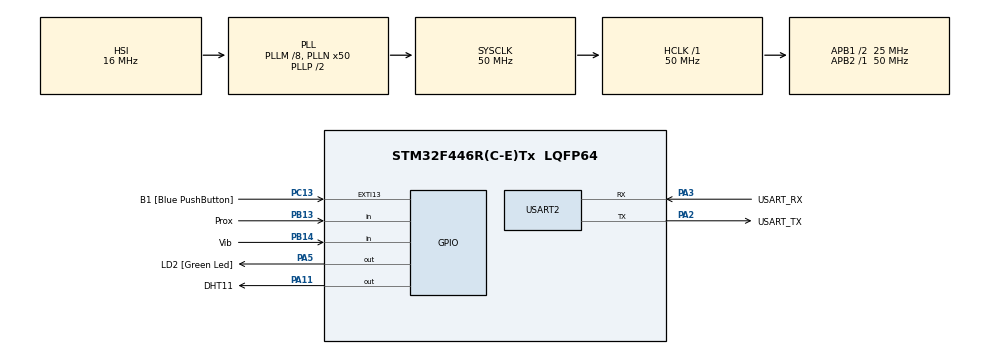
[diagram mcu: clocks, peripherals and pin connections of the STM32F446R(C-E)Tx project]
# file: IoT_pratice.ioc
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Mcu.Family=STM32F4
Mcu.Name=STM32F446R(C-E)Tx
Mcu.Package=LQFP64
NVIC.PriorityGroup=NVIC_PRIORITYGROUP_0
PA11.GPIO_Label=DHT11
PA11.Signal=GPIO_Output
PA13.GPIO_Label=TMS
PA13.Mode=Serial_Wire
PA13.Signal=SYS_JTMS-SWDIO
PA14.GPIO_Label=TCK
PA14.Mode=Serial_Wire
PA14.Signal=SYS_JTCK-SWCLK
PA2.GPIO_Label=USART_TX
PA2.Mode=Asynchronous
PA2.Signal=USART2_TX
PA3.GPIO_Label=USART_RX
PA3.Mode=Asynchronous
PA3.Signal=USART2_RX
PA5.GPIO_Label=LD2 [Green Led]
PA5.Signal=GPIO_Output
PB13.GPIO_Label=Prox
PB13.Signal=GPIO_Input
PB14.GPIO_Label=Vib
PB14.GPIO_PuPd=GPIO_PULLUP
PB14.Signal=GPIO_Input
PB3.GPIO_Label=SWO
PB3.Signal=SYS_JTDO-SWO
PC13.GPIO_Label=B1 [Blue PushButton]
PC13.GPIO_ModeDefaultEXTI=GPIO_MODE_IT_FALLING
PC13.Signal=GPXTI13
PC14-OSC32_IN.Mode=LSE-External-Oscillator
PC14-OSC32_IN.Signal=RCC_OSC32_IN
PC15-OSC32_OUT.Mode=LSE-External-Oscillator
PC15-OSC32_OUT.Signal=RCC_OSC32_OUT
PH0-OSC_IN.Mode=HSE-External-Oscillator
PH0-OSC_IN.Signal=RCC_OSC_IN
PH1-OSC_OUT.Mode=HSE-External-Oscillator
PH1-OSC_OUT.Signal=RCC_OSC_OUT
ProjectManager.HeapSize=0x200
ProjectManager.StackSize=0x400
ProjectManager.TargetToolchain=STM32CubeIDE
RCC.48MHZClocksFreq_Value=84000000
RCC.AHBFreq_Value=50000000
RCC.APB1CLKDivider=RCC_HCLK_DIV2
RCC.APB1Freq_Value=25000000
RCC.APB1TimFreq_Value=50000000
RCC.APB2Freq_Value=50000000
RCC.APB2TimFreq_Value=50000000
RCC.CortexFreq_Value=50000000
RCC.FLatency-AdvancedSettings=FLASH_LATENCY_1
RCC.HCLKFreq_Value=50000000
RCC.HSE_VALUE=8000000
RCC.HSI_VALUE=16000000
RCC.PLLM=8
RCC.PLLN=50
RCC.SYSCLKFreq_VALUE=50000000
RCC.SYSCLKSource=RCC_SYSCLKSOURCE_PLLCLK
RCC.USBFreq_Value=50000000
RCC.VCOOutputFreq_Value=100000000
USART2.VirtualMode=VM_ASYNC
VP_TIM6_VS_ClockSourceINT.Mode=Enable_Timer
board=NUCLEO-F446RE

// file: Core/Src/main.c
/* USER CODE BEGIN Header */
/**
  ******************************************************************************
  * @file           : main.c
  * @brief          : Main program body
  ******************************************************************************
  * @attention
  *
  * Copyright (c) 2024 STMicroelectronics.
  * All rights reserved.
  *
  * This software is licensed under terms that can be found in the LICENSE file
  * in the root directory of this software component.
  * If no LICENSE file comes with this software, it is provided AS-IS.
  *
  ******************************************************************************
  */
/* USER CODE END Header */
#include "main.h"

/* USER CODE BEGIN Includes */
#include <stdio.h>
#include "dht11_driver.h"
/* USER CODE END Includes */

/* USER CODE BEGIN PD */
#define VERSION 3
/* USER CODE END PD */

TIM_HandleTypeDef htim6;

UART_HandleTypeDef huart2;

void SystemClock_Config(void);
static void MX_GPIO_Init(void);
static void MX_USART2_UART_Init(void);
static void MX_TIM6_Init(void);

/* USER CODE BEGIN 0 */
int __io_putchar(int ch){
	HAL_UART_Transmit(&huart2, (uint8_t *)&ch,1,HAL_MAX_DELAY);
	return ch;
}
/* USER CODE END 0 */

int main(void)
{

  /* MCU Configuration--------------------------------------------------------*/

  /* Reset of all peripherals, Initializes the Flash interface and the Systick. */
  HAL_Init();

  /* USER CODE BEGIN Init */
  uint8_t Rh_Byte1;
  uint8_t Rh_Byte2;
  uint8_t Temp_Byte1;
  uint8_t Temp_Byte2;
  uint8_t SUM;
  /* USER CODE END Init */

  /* Configure the system clock */
  SystemClock_Config();

  /* Initialize all configured peripherals */
  MX_GPIO_Init();
  MX_USART2_UART_Init();
  MX_TIM6_Init();
  /* USER CODE BEGIN 2 */
  HAL_TIM_Base_Start(&htim6);
  /* USER CODE END 2 */

  /* Infinite loop */
  while (1)
  {

    /* USER CODE BEGIN 3 */
#if VERSION==1
	  printf("Prox : %d\n",HAL_GPIO_ReadPin(Prox_GPIO_Port,Prox_Pin));
	  HAL_Delay(1000);
#elif VERSION==2
	  printf("Vib : %d\n",HAL_GPIO_ReadPin(Vib_GPIO_Port,Vib_Pin));
	  HAL_Delay(1000);
#elif VERSION==3
	  dht11_start();
	  if (dht11_response == 1){
		  Rh_byte1 = DHT11_Read();
		  Rh_byte2 = DHT11_Read();
		  Temp_byte1 = DHT11_Read();
		  Temp_byte2 = DHT11_Read();
		  SUM = DHT11_Read();
	  }
	  else{
		  printf("Presence error\n");
	  }
	  printf("Temp : %d.%d\n",Temp_Byte1,Temp_Byte2);
	  printf("Hum : %d.%d\n",Rh_Byte1,Rh_Byte2);
	  HAL_Delay(3000);

#endif

  }
  /* USER CODE END 3 */
}

void SystemClock_Config(void)
{
  RCC_OscInitTypeDef RCC_OscInitStruct = {0};
  RCC_ClkInitTypeDef RCC_ClkInitStruct = {0};

  /** Configure the main internal regulator output voltage
  */
  __HAL_RCC_PWR_CLK_ENABLE();
  __HAL_PWR_VOLTAGESCALING_CONFIG(PWR_REGULATOR_VOLTAGE_SCALE3);

  /** Initializes the RCC Oscillators according to the specified parameters
  * in the RCC_OscInitTypeDef structure.
  */
  RCC_OscInitStruct.OscillatorType = RCC_OSCILLATORTYPE_HSI;
  RCC_OscInitStruct.HSIState = RCC_HSI_ON;
  RCC_OscInitStruct.HSICalibrationValue = RCC_HSICALIBRATION_DEFAULT;
  RCC_OscInitStruct.PLL.PLLState = RCC_PLL_ON;
  RCC_OscInitStruct.PLL.PLLSource = RCC_PLLSOURCE_HSI;
  RCC_OscInitStruct.PLL.PLLM = 8;
  RCC_OscInitStruct.PLL.PLLN = 50;
  RCC_OscInitStruct.PLL.PLLP = RCC_PLLP_DIV2;
  RCC_OscInitStruct.PLL.PLLQ = 2;
  RCC_OscInitStruct.PLL.PLLR = 2;
  if (HAL_RCC_OscConfig(&RCC_OscInitStruct) != HAL_OK)
  {
    Error_Handler();
  }

  /** Initializes the CPU, AHB and APB buses clocks
  */
  RCC_ClkInitStruct.ClockType = RCC_CLOCKTYPE_HCLK|RCC_CLOCKTYPE_SYSCLK
                              |RCC_CLOCKTYPE_PCLK1|RCC_CLOCKTYPE_PCLK2;
  RCC_ClkInitStruct.SYSCLKSource = RCC_SYSCLKSOURCE_PLLCLK;
  RCC_ClkInitStruct.AHBCLKDivider = RCC_SYSCLK_DIV1;
  RCC_ClkInitStruct.APB1CLKDivider = RCC_HCLK_DIV2;
  RCC_ClkInitStruct.APB2CLKDivider = RCC_HCLK_DIV1;

  if (HAL_RCC_ClockConfig(&RCC_ClkInitStruct, FLASH_LATENCY_1) != HAL_OK)
  {
    Error_Handler();
  }
}

static void MX_TIM6_Init(void)
{

  TIM_MasterConfigTypeDef sMasterConfig = {0};

  htim6.Instance = TIM6;
  htim6.Init.Prescaler = 0;
  htim6.Init.CounterMode = TIM_COUNTERMODE_UP;
  htim6.Init.Period = 65535;
  htim6.Init.AutoReloadPreload = TIM_AUTORELOAD_PRELOAD_DISABLE;
  if (HAL_TIM_Base_Init(&htim6) != HAL_OK)
  {
    Error_Handler();
  }
  sMasterConfig.MasterOutputTrigger = TIM_TRGO_RESET;
  sMasterConfig.MasterSlaveMode = TIM_MASTERSLAVEMODE_DISABLE;
  if (HAL_TIMEx_MasterConfigSynchronization(&htim6, &sMasterConfig) != HAL_OK)
  {
    Error_Handler();
  }

}

static void MX_USART2_UART_Init(void)
{

  huart2.Instance = USART2;
  huart2.Init.BaudRate = 115200;
  huart2.Init.WordLength = UART_WORDLENGTH_8B;
  huart2.Init.StopBits = UART_STOPBITS_1;
  huart2.Init.Parity = UART_PARITY_NONE;
  huart2.Init.Mode = UART_MODE_TX_RX;
  huart2.Init.HwFlowCtl = UART_HWCONTROL_NONE;
  huart2.Init.OverSampling = UART_OVERSAMPLING_16;
  if (HAL_UART_Init(&huart2) != HAL_OK)
  {
    Error_Handler();
  }

}

static void MX_GPIO_Init(void)
{
  GPIO_InitTypeDef GPIO_InitStruct = {0};

  /* GPIO Ports Clock Enable */
  __HAL_RCC_GPIOC_CLK_ENABLE();
  __HAL_RCC_GPIOH_CLK_ENABLE();
  __HAL_RCC_GPIOA_CLK_ENABLE();
  __HAL_RCC_GPIOB_CLK_ENABLE();

  /*Configure GPIO pin Output Level */
  HAL_GPIO_WritePin(GPIOA, LD2_Pin|DHT11_Pin, GPIO_PIN_RESET);

  /*Configure GPIO pin : B1_Pin */
  GPIO_InitStruct.Pin = B1_Pin;
  GPIO_InitStruct.Mode = GPIO_MODE_IT_FALLING;
  GPIO_InitStruct.Pull = GPIO_NOPULL;
  HAL_GPIO_Init(B1_GPIO_Port, &GPIO_InitStruct);

  /*Configure GPIO pins : LD2_Pin DHT11_Pin */
  GPIO_InitStruct.Pin = LD2_Pin|DHT11_Pin;
  GPIO_InitStruct.Mode = GPIO_MODE_OUTPUT_PP;
  GPIO_InitStruct.Pull = GPIO_NOPULL;
  GPIO_InitStruct.Speed = GPIO_SPEED_FREQ_LOW;
  HAL_GPIO_Init(GPIOA, &GPIO_InitStruct);

  /*Configure GPIO pin : Prox_Pin */
  GPIO_InitStruct.Pin = Prox_Pin;
  GPIO_InitStruct.Mode = GPIO_MODE_INPUT;
  GPIO_InitStruct.Pull = GPIO_NOPULL;
  HAL_GPIO_Init(Prox_GPIO_Port, &GPIO_InitStruct);

  /*Configure GPIO pin : Vib_Pin */
  GPIO_InitStruct.Pin = Vib_Pin;
  GPIO_InitStruct.Mode = GPIO_MODE_INPUT;
  GPIO_InitStruct.Pull = GPIO_PULLUP;
  HAL_GPIO_Init(Vib_GPIO_Port, &GPIO_InitStruct);

}

void Error_Handler(void)
{
  __disable_irq();
  while (1)
  {
  }
}
